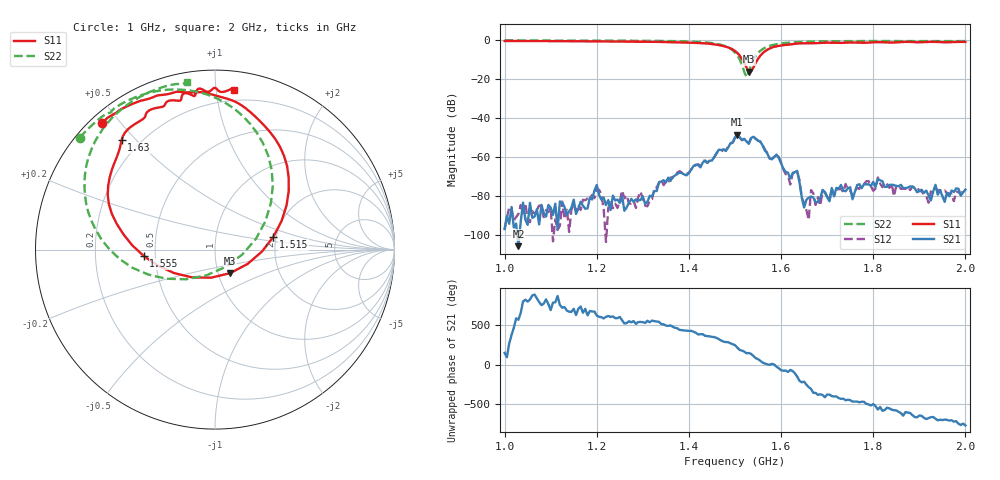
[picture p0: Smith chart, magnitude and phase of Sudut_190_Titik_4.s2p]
# Hz S RI R 50
! CMT, C1220, 16058040, 17.2.0/1
! Date: 14/08/2018 12:31:30
! Data: Format (Calibration Info)
! Freq  S11: Re/Im (F2)  S21: Re/Im (F2)  S12: Re/Im (F2)  S22: Re/Im (F2)
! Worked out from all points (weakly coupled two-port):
!   201 points, 1 GHz to 2 GHz, reference 50 ohm
!   highest |S21| = -48.40 dB at 1.505 GHz (marker M1); lowest = -105.6 dB at 1.03 GHz (marker M2)
!   lowest |S11| = -16.1 dB at 1.53 GHz (marker M3), VSWR 1.37, Z = 57.2 - j15.3 ohm
!   |S11| at or under -10 dB: 1.516 GHz to 1.549 GHz (32.92 MHz wide, 2.15 % of centre)
!   |S22| runs from -18.9 to -0.2 dB; largest |S21 - S12| = 0.00024
!   S11 on the Smith chart (normalised r, x): 1 GHz: 0.03, +0.45; 1.515 GHz: 1.93, +0.31; 1.555 GHz: 0.43, -0.04; 1.63 GHz: 0.13, +0.46; 2 GHz: 0.12, +1.12
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1e9  -0.631 0.7067  -1.22e-05 7.73e-06  -1.23e-05 -7.03e-06  -0.7534 0.6239
1.03e9  -0.6046 0.7293  -4.62e-06 -2.53e-06  3.51e-05 -9.12e-07  -0.7335 0.6458
1.17e9  -0.454 0.8141  2.66e-05 -5.11e-05  2.41e-05 -7.77e-05  -0.6175 0.749
1.2e9  -0.4113 0.8299  -2.88e-05 -0.000193  9.27e-06 -0.000151  -0.5839 0.7622
1.21e9  -0.4019 0.832  -3.83e-05 -7.22e-05  -7.83e-05 -8.1e-05  -0.5797 0.7663
1.32e9  -0.2104 0.8796  -9.41e-05 -3.15e-05  -8.45e-05 -6.41e-06  -0.4308 0.8537
1.335e9  -0.1891 0.878  -0.000224 -1.2e-05  -0.000218 4.04e-05  -0.4019 0.8635
1.45e9  0.1941 0.7683  0.000817 -0.00011  0.000849 -0.000209  0.0196 0.8378
1.5e9  0.4108 0.3282  -0.00129 -0.00298  -0.00126 -0.00282  0.322 0.3549
1.505e9  0.3987 0.2463  -0.00311 -0.00219  -0.00298 -0.00221  0.3112 0.2592
1.515e9  0.3255 0.0715  -0.00272 0.000106  -0.00278 2.17e-05  0.2283 0.0602
1.53e9  0.0856 -0.1305  -0.00189 0.00116  -0.00187 0.00122  -0.049 -0.1439
1.555e9  -0.3969 -0.0358  0.00163 0.00187  0.00155 0.002  -0.5301 -0.0534
1.595e9  -0.587 0.4018  0.000678 -0.000684  0.000696 -0.000741  -0.7269 0.3434
1.62e9  -0.5297 0.5681  0.000112 -0.000261  4.53e-05 -0.000195  -0.7093 0.4972
1.63e9  -0.5202 0.6113  -0.00014 -0.000391  -0.000148 -0.000416  -0.6942 0.5428
1.645e9  -0.4882 0.6675  -6.78e-05 6.37e-05  -6.46e-05 6.55e-05  -0.6699 0.5998
1.67e9  -0.4032 0.7259  9.23e-05 5.55e-06  0.000117 2.16e-05  -0.6259 0.6713
1.8e9  -0.1839 0.8575  -0.000179 -0.00015  -0.000107 -8.79e-05  -0.4261 0.8463
1.81e9  -0.1723 0.8703  -0.000243 0.000133  -0.000286 -0.000101  -0.4125 0.8543
1.835e9  -0.1203 0.8566  -0.000191 4.74e-05  -0.000153 5.71e-05  -0.379 0.8711
2e9  0.1077 0.8903  9.5e-05 -0.000113  0.000108 -9.5e-05  -0.1559 0.9316
